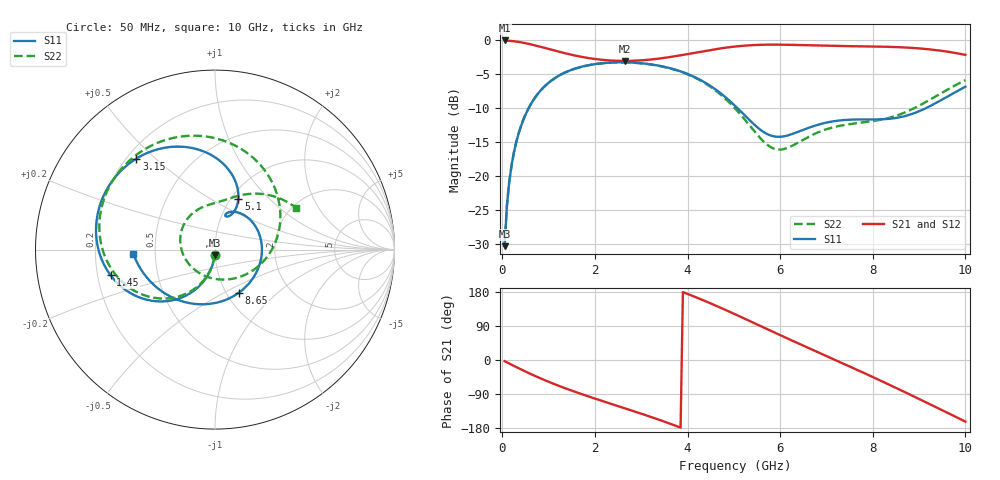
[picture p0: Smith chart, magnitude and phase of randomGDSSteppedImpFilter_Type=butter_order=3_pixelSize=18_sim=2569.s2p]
! freq	dB(S11)	phase(S11)	dB(S12)	phase(S12)
!  dB(S21)	phase(S21)	dB(S22)	phase(S22)
!S-par simulation data
#  GHz  S  DB  R 50
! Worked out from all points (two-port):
!   200 points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, 50 MHz to 10 GHz, reference 50 ohm
!   highest |S21| = -0.01 dB at 50 MHz (marker M1); lowest = -3.0 dB at 2.65 GHz (marker M2)
!   |S21| within 3 dB of the highest: start of sweep to 2.475 GHz; 2.805 GHz to end of sweep
!   lowest |S11| = -30.3 dB at 50 MHz (marker M3), VSWR 1.06, Z = 49.7 - j3.02 ohm
!   |S11| at or under -10 dB: start of sweep to 568.9 MHz; 5.08 GHz to 9.143 GHz (4.063 GHz wide, 57.1 % of centre)
!   |S22| runs from -30.3 to -3.2 dB; largest |S21 - S12| = 0
!   S11 on the Smith chart (normalised r, x): 50 MHz: 0.99, -0.06; 1.45 GHz: 0.25, -0.11; 3.15 GHz: 0.24, +0.44; 5.1 GHz: 1.08, +0.68; 8.65 GHz: 1.15, -0.59; 10 GHz: 0.37, -0.02
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0.05  -30.34 -93.2  -0.01 -3.2  -0.01 -3.2  -30.32 -93.5
0.1  -24.35 -96.4  -0.02 -6.3  -0.02 -6.3  -24.35 -96.9
0.2  -18.43 -102.6  -0.08 -12.5  -0.08 -12.5  -18.42 -103.3
0.45  -11.78 -117.2  -0.34 -27.5  -0.34 -27.5  -11.77 -119.0
0.9  -6.86 -141.1  -1.07 -52.4  -1.07 -52.4  -6.87 -144.7
1.45  -4.45 -166.1  -2.05 -78.7  -2.05 -78.7  -4.46 -172.2
1.75  -3.82 -178.3  -2.47 -91.5  -2.47 -91.5  -3.82 174.1
2.65  -3.23 148.6  -3.03 -127.6  -3.03 -127.6  -3.24 135.3
3.15  -3.48 130.8  -2.86 -147.8  -2.86 -147.8  -3.50 113.2
3.4  -3.75 121.8  -2.67 -158.3  -2.67 -158.3  -3.78 101.4
4.3  -5.91 88.6  -1.64 159.7  -1.64 159.7  -6.00 52.2
5.05  -9.80 66.2  -0.88 119.4  -0.88 119.4  -10.21 -2.7
5.1  -10.13 65.3  -0.85 116.6  -0.85 116.6  -10.59 -7.1
5.5  -12.77 63.6  -0.67 94.0  -0.67 94.0  -13.86 -49.4
5.85  -14.13 69.3  -0.62 74.1  -0.62 74.1  -15.92 -97.7
6.7  -12.68 65.3  -0.74 26.8  -0.74 26.8  -13.92 164.1
7.1  -11.98 49.5  -0.80 4.9  -0.80 4.9  -12.90 136.6
7.5  -11.69 28.0  -0.85 -17.0  -0.85 -17.0  -12.34 115.3
8.35  -11.56 -34.2  -0.95 -64.9  -0.95 -64.9  -11.42 84.3
8.65  -11.24 -60.6  -1.03 -82.2  -1.03 -82.2  -10.74 75.9
9.25  -9.64 -115.1  -1.34 -117.7  -1.34 -117.7  -8.67 57.6
10  -6.83 -177.0  -2.14 -162.5  -2.14 -162.5  -5.87 27.1
